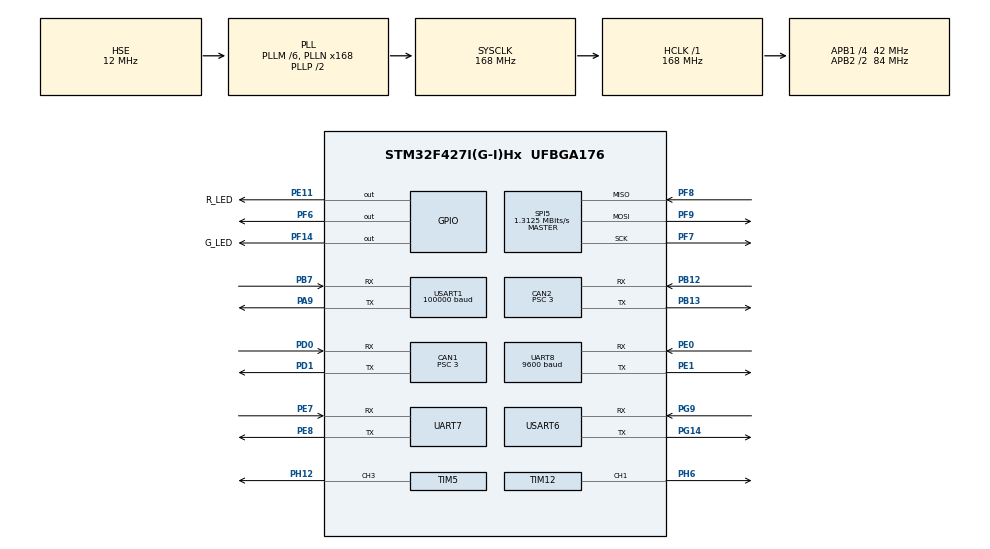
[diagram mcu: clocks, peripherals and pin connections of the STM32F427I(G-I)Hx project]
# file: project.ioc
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CAN1.BS1=CAN_BS1_10TQ
CAN1.BS2=CAN_BS2_3TQ
CAN1.CalculateBaudRate=1000000
CAN1.CalculateTimeBit=1000
CAN1.CalculateTimeQuantum=71.42857142857143
CAN1.Prescaler=3
CAN2.BS1=CAN_BS1_10TQ
CAN2.BS2=CAN_BS2_3TQ
CAN2.CalculateBaudRate=1000000
CAN2.CalculateTimeBit=1000
CAN2.CalculateTimeQuantum=71.42857142857143
CAN2.Prescaler=3
Dma.Request0=USART1_RX
Dma.Request1=USART6_TX
Dma.Request2=USART6_RX
Dma.Request3=UART8_RX
Dma.Request4=UART7_TX
Dma.UART7_TX.4.Direction=DMA_MEMORY_TO_PERIPH
Dma.UART7_TX.4.FIFOMode=DMA_FIFOMODE_DISABLE
Dma.UART7_TX.4.Instance=DMA1_Stream1
Dma.UART7_TX.4.MemDataAlignment=DMA_MDATAALIGN_BYTE
Dma.UART7_TX.4.MemInc=DMA_MINC_ENABLE
Dma.UART7_TX.4.Mode=DMA_NORMAL
Dma.UART7_TX.4.PeriphDataAlignment=DMA_PDATAALIGN_BYTE
Dma.UART7_TX.4.PeriphInc=DMA_PINC_DISABLE
Dma.UART7_TX.4.Priority=DMA_PRIORITY_VERY_HIGH
Dma.UART8_RX.3.Direction=DMA_PERIPH_TO_MEMORY
Dma.UART8_RX.3.FIFOMode=DMA_FIFOMODE_DISABLE
Dma.UART8_RX.3.Instance=DMA1_Stream6
Dma.UART8_RX.3.MemDataAlignment=DMA_MDATAALIGN_BYTE
Dma.UART8_RX.3.MemInc=DMA_MINC_ENABLE
Dma.UART8_RX.3.Mode=DMA_NORMAL
Dma.UART8_RX.3.PeriphDataAlignment=DMA_PDATAALIGN_BYTE
Dma.UART8_RX.3.PeriphInc=DMA_PINC_DISABLE
Dma.UART8_RX.3.Priority=DMA_PRIORITY_VERY_HIGH
Dma.USART1_RX.0.Direction=DMA_PERIPH_TO_MEMORY
Dma.USART1_RX.0.FIFOMode=DMA_FIFOMODE_DISABLE
Dma.USART1_RX.0.Instance=DMA2_Stream2
Dma.USART1_RX.0.MemDataAlignment=DMA_MDATAALIGN_BYTE
Dma.USART1_RX.0.MemInc=DMA_MINC_ENABLE
Dma.USART1_RX.0.Mode=DMA_CIRCULAR
Dma.USART1_RX.0.PeriphDataAlignment=DMA_PDATAALIGN_BYTE
Dma.USART1_RX.0.PeriphInc=DMA_PINC_DISABLE
Dma.USART1_RX.0.Priority=DMA_PRIORITY_VERY_HIGH
Dma.USART6_RX.2.Direction=DMA_PERIPH_TO_MEMORY
Dma.USART6_RX.2.FIFOMode=DMA_FIFOMODE_DISABLE
Dma.USART6_RX.2.Instance=DMA2_Stream1
Dma.USART6_RX.2.MemDataAlignment=DMA_MDATAALIGN_BYTE
Dma.USART6_RX.2.MemInc=DMA_MINC_ENABLE
Dma.USART6_RX.2.Mode=DMA_CIRCULAR
Dma.USART6_RX.2.PeriphDataAlignment=DMA_PDATAALIGN_BYTE
Dma.USART6_RX.2.PeriphInc=DMA_PINC_DISABLE
Dma.USART6_RX.2.Priority=DMA_PRIORITY_HIGH
Dma.USART6_TX.1.Direction=DMA_MEMORY_TO_PERIPH
Dma.USART6_TX.1.FIFOMode=DMA_FIFOMODE_DISABLE
Dma.USART6_TX.1.Instance=DMA2_Stream6
Dma.USART6_TX.1.MemDataAlignment=DMA_MDATAALIGN_BYTE
Dma.USART6_TX.1.MemInc=DMA_MINC_ENABLE
Dma.USART6_TX.1.Mode=DMA_CIRCULAR
Dma.USART6_TX.1.PeriphDataAlignment=DMA_PDATAALIGN_BYTE
Dma.USART6_TX.1.PeriphInc=DMA_PINC_DISABLE
Dma.USART6_TX.1.Priority=DMA_PRIORITY_VERY_HIGH
FREERTOS.Tasks01=defaultTask,24,128,StartDefaultTask,Default,NULL,Dynamic,NULL,NULL
Mcu.Family=STM32F4
Mcu.Name=STM32F427I(G-I)Hx
Mcu.Package=UFBGA176
NVIC.CAN1_RX0_IRQn=true\:2\:0\:true\:false\:true\:true\:true\:true\:true
NVIC.CAN2_RX0_IRQn=true\:2\:0\:true\:false\:true\:true\:true\:true\:true
NVIC.DMA1_Stream1_IRQn=true\:5\:0\:false\:false\:true\:true\:false\:true\:true
NVIC.DMA1_Stream6_IRQn=true\:5\:0\:false\:false\:true\:true\:false\:true\:true
NVIC.DMA2_Stream1_IRQn=true\:5\:0\:false\:false\:true\:true\:false\:true\:true
NVIC.DMA2_Stream2_IRQn=true\:0\:3\:true\:false\:true\:true\:false\:true\:true
NVIC.DMA2_Stream6_IRQn=true\:5\:0\:false\:false\:true\:true\:false\:true\:true
NVIC.PriorityGroup=NVIC_PRIORITYGROUP_4
NVIC.TIM2_IRQn=true\:1\:1\:true\:false\:true\:true\:true\:true\:true
NVIC.UART7_IRQn=true\:5\:0\:false\:false\:true\:true\:true\:true\:true
NVIC.UART8_IRQn=true\:5\:0\:false\:false\:true\:true\:true\:true\:true
NVIC.USART1_IRQn=true\:1\:0\:true\:false\:true\:true\:true\:true\:true
NVIC.USART6_IRQn=true\:5\:0\:false\:false\:true\:true\:true\:true\:true
PA13.Mode=Serial_Wire
PA13.Signal=SYS_JTMS-SWDIO
PA14.Mode=Serial_Wire
PA14.Signal=SYS_JTCK-SWCLK
PA9.Mode=Multiprocessor_communication
PA9.Signal=USART1_TX
PB12.Mode=CAN_Activate
PB12.Signal=CAN2_RX
PB13.Mode=CAN_Activate
PB13.Signal=CAN2_TX
PB7.Mode=Multiprocessor_communication
PB7.Signal=USART1_RX
PD0.Mode=CAN_Activate
PD0.Signal=CAN1_RX
PD1.Mode=CAN_Activate
PD1.Signal=CAN1_TX
PE0.Mode=Asynchronous
PE0.Signal=UART8_RX
PE1.Mode=Asynchronous
PE1.Signal=UART8_TX
PE11.GPIO_Label=R_LED
PE11.GPIO_ModeDefaultOutputPP=GPIO_MODE_OUTPUT_PP
PE11.GPIO_PuPd=GPIO_NOPULL
PE11.GPIO_Speed=GPIO_SPEED_FREQ_LOW
PE11.PinState=GPIO_PIN_SET
PE11.Signal=GPIO_Output
PE7.Mode=Asynchronous
PE7.Signal=UART7_RX
PE8.Mode=Asynchronous
PE8.Signal=UART7_TX
PF14.GPIO_Label=G_LED
PF14.PinState=GPIO_PIN_SET
PF14.Signal=GPIO_Output
PF6.Signal=GPIO_Output
PF7.Mode=Full_Duplex_Master
PF7.Signal=SPI5_SCK
PF8.Mode=Full_Duplex_Master
PF8.Signal=SPI5_MISO
PF9.Mode=Full_Duplex_Master
PF9.Signal=SPI5_MOSI
PG14.Mode=Asynchronous
PG14.Signal=USART6_TX
PG9.Mode=Asynchronous
PG9.Signal=USART6_RX
PH0/OSC_IN.Mode=HSE-External-Oscillator
PH0/OSC_IN.Signal=RCC_OSC_IN
PH1/OSC_OUT.Mode=HSE-External-Oscillator
PH1/OSC_OUT.Signal=RCC_OSC_OUT
PH12.Signal=S_TIM5_CH3
PH6.Signal=S_TIM12_CH1
ProjectManager.HeapSize=0x200
ProjectManager.StackSize=0x400
ProjectManager.TargetToolchain=CMake
RCC.48MHZClocksFreq_Value=84000000
RCC.AHBFreq_Value=168000000
RCC.APB1CLKDivider=RCC_HCLK_DIV4
RCC.APB1Freq_Value=42000000
RCC.APB1TimFreq_Value=84000000
RCC.APB2CLKDivider=RCC_HCLK_DIV2
RCC.APB2Freq_Value=84000000
RCC.APB2TimFreq_Value=168000000
RCC.CortexFreq_Value=168000000
RCC.HCLKFreq_Value=168000000
RCC.HSE_VALUE=12000000
RCC.HSI_VALUE=16000000
RCC.LSE_VALUE=32768
RCC.PLLM=6
RCC.PLLN=168
RCC.PLLSourceVirtual=RCC_PLLSOURCE_HSE
RCC.SYSCLKFreq_VALUE=168000000
RCC.SYSCLKSource=RCC_SYSCLKSOURCE_PLLCLK
RCC.VCOOutputFreq_Value=336000000
SH.S_TIM12_CH1.0=TIM12_CH1,PWM Generation1 CH1
SH.S_TIM5_CH3.0=TIM5_CH3,PWM Generation3 CH3
SPI5.BaudRatePrescaler=SPI_BAUDRATEPRESCALER_64
SPI5.CalculateBaudRate=1.3125 MBits/s
SPI5.Direction=SPI_DIRECTION_2LINES
SPI5.Mode=SPI_MODE_MASTER
SPI5.VirtualType=VM_MASTER
TIM12.Channel-PWM\ Generation1\ CH1=TIM_CHANNEL_1
TIM12.OCMode_PWM-PWM\ Generation1\ CH1=TIM_OCMODE_PWM2
TIM12.Period=3822
TIM12.Prescaler=84-1
TIM12.Pulse-PWM\ Generation1\ CH1=0
TIM2.Period=1000-1
TIM2.Prescaler=84-1
TIM5.Channel-PWM\ Generation3\ CH3=TIM_CHANNEL_3
TIM5.Period=2000-1
TIM5.Prescaler=72-1
TIM5.Pulse-PWM\ Generation3\ CH3=650
UART7.VirtualMode=Asynchronous
UART8.BaudRate=9600
UART8.VirtualMode=Asynchronous
USART1.BaudRate=100000
USART1.Mode=MODE_RX
USART1.Parity=PARITY_EVEN
USART1.VirtualMode=VM_ASYNC
USART6.VirtualMode=VM_ASYNC
VP_FREERTOS_VS_CMSIS_V2.Mode=CMSIS_V2
VP_TIM12_VS_ClockSourceINT.Mode=Internal
VP_TIM2_VS_ClockSourceINT.Mode=Internal
VP_TIM5_VS_ClockSourceINT.Mode=Internal
board=custom

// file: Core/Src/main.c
/* USER CODE BEGIN Header */
/**
  ******************************************************************************
  * @file           : main.c
  * @brief          : Main program body
  ******************************************************************************
  * @attention
  *
  * Copyright (c) 2024 STMicroelectronics.
  * All rights reserved.
  *
  * This software is licensed under terms that can be found in the LICENSE file
  * in the root directory of this software component.
  * If no LICENSE file comes with this software, it is provided AS-IS.
  *
  ******************************************************************************
  */
/* USER CODE END Header */
#include "main.h"
#include "cmsis_os.h"
#include "can.h"
#include "dma.h"
#include "spi.h"
#include "tim.h"
#include "usart.h"
#include "gpio.h"

/* USER CODE BEGIN Includes */
#include "remote_control.h"
/* USER CODE END Includes */

/* USER CODE BEGIN PD */
/*?????????1ms??1???????? 30*60*60*1000 = 108000000 ??? ??*/
uint32_t Time_Base;
/* USER CODE END PD */

void SystemClock_Config(void);
void MX_FREERTOS_Init(void);

int main(void)
{

  /* MCU Configuration--------------------------------------------------------*/

  /* Reset of all peripherals, Initializes the Flash interface and the Systick. */
  HAL_Init();

  /* Configure the system clock */
  SystemClock_Config();

  /* Initialize all configured peripherals */
  MX_GPIO_Init();
  MX_DMA_Init();
  MX_TIM2_Init();
  MX_USART1_UART_Init();
  MX_CAN1_Init();
  MX_TIM12_Init();
  MX_SPI5_Init();
  MX_CAN2_Init();
  MX_USART6_UART_Init();
  MX_UART8_Init();
  MX_UART7_Init();
  MX_TIM5_Init();
  /* USER CODE BEGIN 2 */
	HAL_TIM_Base_Start_IT(&htim2);	//??timer2????
	can_filter_init();  //can1??
	HAL_TIM_Base_Start(&htim12);
	HAL_TIM_PWM_Start(&htim12,TIM_CHANNEL_1);
	 remote_control_init();
	 gyroscope_control_init();
	pid_init();
	uart7_tx_dma_init();

	//Sing_Startup_music(1);
  /* USER CODE END 2 */

  /* Init scheduler */
  osKernelInitialize();  /* Call init function for freertos objects (in freertos.c) */
  MX_FREERTOS_Init();

  /* Start scheduler */
  osKernelStart();

  /* We should never get here as control is now taken by the scheduler */
  /* Infinite loop */
  while (1)
  {

	}
}

void SystemClock_Config(void)
{
  RCC_OscInitTypeDef RCC_OscInitStruct = {0};
  RCC_ClkInitTypeDef RCC_ClkInitStruct = {0};

  /** Configure the main internal regulator output voltage
  */
  __HAL_RCC_PWR_CLK_ENABLE();
  __HAL_PWR_VOLTAGESCALING_CONFIG(PWR_REGULATOR_VOLTAGE_SCALE1);

  /** Initializes the RCC Oscillators according to the specified parameters
  * in the RCC_OscInitTypeDef structure.
  */
  RCC_OscInitStruct.OscillatorType = RCC_OSCILLATORTYPE_HSE;
  RCC_OscInitStruct.HSEState = RCC_HSE_ON;
  RCC_OscInitStruct.PLL.PLLState = RCC_PLL_ON;
  RCC_OscInitStruct.PLL.PLLSource = RCC_PLLSOURCE_HSE;
  RCC_OscInitStruct.PLL.PLLM = 6;
  RCC_OscInitStruct.PLL.PLLN = 168;
  RCC_OscInitStruct.PLL.PLLP = RCC_PLLP_DIV2;
  RCC_OscInitStruct.PLL.PLLQ = 4;
  if (HAL_RCC_OscConfig(&RCC_OscInitStruct) != HAL_OK)
  {
    Error_Handler();
  }

  /** Initializes the CPU, AHB and APB buses clocks
  */
  RCC_ClkInitStruct.ClockType = RCC_CLOCKTYPE_HCLK|RCC_CLOCKTYPE_SYSCLK
                              |RCC_CLOCKTYPE_PCLK1|RCC_CLOCKTYPE_PCLK2;
  RCC_ClkInitStruct.SYSCLKSource = RCC_SYSCLKSOURCE_PLLCLK;
  RCC_ClkInitStruct.AHBCLKDivider = RCC_SYSCLK_DIV1;
  RCC_ClkInitStruct.APB1CLKDivider = RCC_HCLK_DIV4;
  RCC_ClkInitStruct.APB2CLKDivider = RCC_HCLK_DIV2;

  if (HAL_RCC_ClockConfig(&RCC_ClkInitStruct, FLASH_LATENCY_5) != HAL_OK)
  {
    Error_Handler();
  }
}

void Error_Handler(void)
{
  __disable_irq();
  while (1)
  {
  }
}

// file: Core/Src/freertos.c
/* USER CODE BEGIN Header */
/**
  ******************************************************************************
  * File Name          : freertos.c
  * Description        : Code for freertos applications
  ******************************************************************************
  * @attention
  *
  * Copyright (c) 2024 STMicroelectronics.
  * All rights reserved.
  *
  * This software is licensed under terms that can be found in the LICENSE file
  * in the root directory of this software component.
  * If no LICENSE file comes with this software, it is provided AS-IS.
  *
  ******************************************************************************
  */
/* USER CODE END Header */

#include "FreeRTOS.h"
#include "task.h"
#include "main.h"
#include "cmsis_os.h"

/* USER CODE BEGIN Includes */
extern void chassis_task(void *argument);
extern void gimbal_task(void *argument);
extern void friction_task(void *argument);
extern void referee_usart_task(void *argument);
extern void detect_task(void *argument);
extern void servo_task(void *argument);
/* USER CODE END Includes */

/* USER CODE BEGIN PTD */
TaskHandle_t   chassis_Handle;
TaskHandle_t   gimbal_Handle;
TaskHandle_t   friction_Handle;
TaskHandle_t   referee_usart_Handle;
TaskHandle_t   detect_task_Handle;
TaskHandle_t   servo_task_Handle;
/* USER CODE END PTD */

/* Definitions for defaultTask */
osThreadId_t defaultTaskHandle;
const osThreadAttr_t defaultTask_attributes = {
  .name = "defaultTask",
  .stack_size = 128 * 4,
  .priority = (osPriority_t) osPriorityNormal,
};

/* USER CODE BEGIN FunctionPrototypes */

void StartDefaultTask(void *argument);

void MX_FREERTOS_Init(void); /* (MISRA C 2004 rule 8.1) */

void MX_FREERTOS_Init(void) {

  /* USER CODE BEGIN RTOS_MUTEX */
  /* 创建互斥锁，... */
  /* USER CODE END RTOS_MUTEX */

  /* USER CODE BEGIN RTOS_SEMAPHORES */
  /* 创建信号量，... */
  /* USER CODE END RTOS_SEMAPHORES */

  /* USER CODE BEGIN RTOS_TIMERS */
  /* 启动定时器，... */
  /* USER CODE END RTOS_TIMERS */

  /* USER CODE BEGIN RTOS_QUEUES */
  /* 创建队列，... */
  /* USER CODE END RTOS_QUEUES */

  /* 创建默认任务 */
  defaultTaskHandle = osThreadNew(StartDefaultTask, NULL, &defaultTask_attributes);

  /* USER CODE BEGIN RTOS_THREADS */
  /* 在此处添加线程，... */
  /* USER CODE END RTOS_THREADS */

  /* USER CODE BEGIN RTOS_EVENTS */
  /* 添加事件，... */
  /* USER CODE END RTOS_EVENTS */

}

/* USER CODE BEGIN Header_StartDefaultTask */
/**
  * @brief  默认任务入口，在此创建所有应用任务后删除自身
  * @param  argument: 未使用
  * @retval None
  */
/* USER CODE END Header_StartDefaultTask */
void StartDefaultTask(void *argument)
{
  /* USER CODE BEGIN StartDefaultTask */

  /* 创建底盘任务 - 电机控制，优先级高于普通 */
  xTaskCreate(
      chassis_task,           // 任务函数
      "chassis",              // 任务名称
      512,                    // 堆栈大小（单位：word）
      NULL,                   // 参数
      osPriorityNormal1,      // 优先级
      &chassis_Handle);       // 任务句柄

  /* 创建云台任务 - 俯仰和偏航控制，最高优先级 */
  xTaskCreate(
      gimbal_task,            // 任务函数
      "gimbal_task",          // 任务名称
      512,                    // 堆栈大小
      NULL,                   // 参数
      osPriorityNormal3,      // 优先级 - 最高，实时控制
      &gimbal_Handle);        // 任务句柄

  /* 创建摩擦轮任务 - 发射控制 */
  xTaskCreate(
      friction_task,          // 任务函数
      "friction_task",       // 任务名称
      256,                    // 堆栈大小
      NULL,                   // 参数
      osPriorityNormal2,      // 优先级 - 高，时序要求
      &friction_Handle);     // 任务句柄

  /* 创建裁判系统通信任务 */
  xTaskCreate(
      referee_usart_task,    // 任务函数
      "referee_usart_task",  // 任务名称
      256,                    // 堆栈大小
      NULL,                   // 参数
      osPriorityNormal1,      // 优先级
      &referee_usart_Handle); // 任务句柄

  /* 创建错误检测任务 */
  xTaskCreate(
      detect_task,           // 任务函数
      "detect_task",         // 任务名称
      256,                   // 堆栈大小
      NULL,                  // 参数
      osPriorityNormal,      // 优先级 - 最低，仅监控
      &detect_task_Handle);  // 任务句柄

  /* 创建舵机任务 */
  xTaskCreate(
      servo_task,            // 任务函数
      "servo_task",          // 任务名称
      256,                   // 堆栈大小
      NULL,                  // 参数
      osPriorityNormal1,      // 优先级
      &servo_task_Handle);   // 任务句柄

  /* 创建完所有任务后删除自身 */
  vTaskDelete(NULL);

  /* USER CODE END StartDefaultTask */
}
